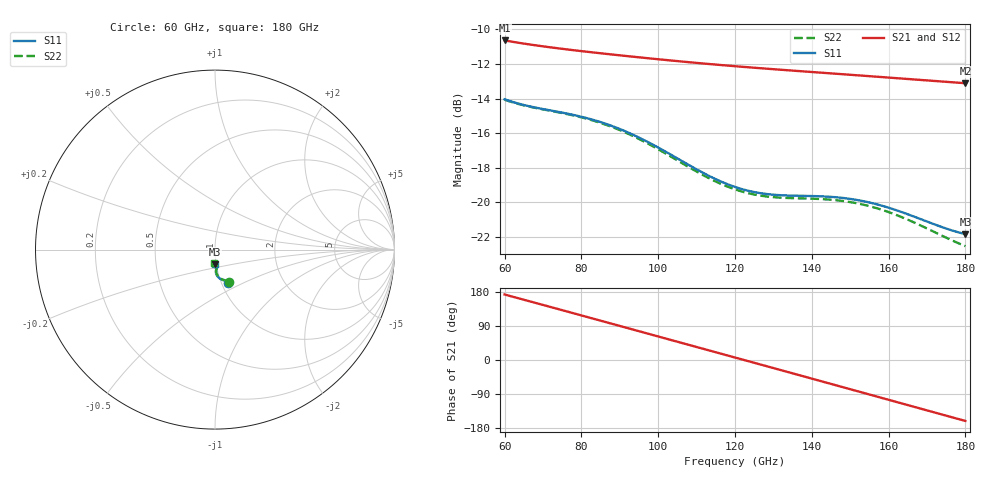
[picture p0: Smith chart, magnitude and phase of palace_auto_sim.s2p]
#  GHZ S DB R 50
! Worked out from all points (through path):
!   101 points, 60 GHz to 180 GHz, reference 50 ohm
!   highest |S21| = -10.64 dB at 60 GHz (marker M1); lowest = -13.1 dB at 180 GHz (marker M2)
!   group delay of S21, straight-line fit = 7.73 ps
!   lowest |S11| = -21.8 dB at 180 GHz (marker M3), VSWR 1.18, Z = 49.4 - j8.04 ohm
!   |S11| at or under -10 dB: start of sweep to end of sweep
!   |S22| runs from -22.5 to -14.1 dB; largest |S21 - S12| = 3.2e-13
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60  -14.05 -68.7  -10.64 172.8  -10.64 172.8  -14.07 -67.6
64.8  -14.36 -69.1  -10.82 159.6  -10.82 159.6  -14.38 -68.1
69.6  -14.59 -70.2  -10.97 146.4  -10.97 146.4  -14.61 -69.1
75.6  -14.84 -72.5  -11.14 129.8  -11.14 129.8  -14.87 -71.5
80.4  -15.08 -75.0  -11.27 116.5  -11.27 116.5  -15.11 -73.9
85.2  -15.38 -77.7  -11.39 103.2  -11.39 103.2  -15.43 -76.8
90  -15.76 -80.6  -11.50 89.9  -11.50 89.9  -15.83 -79.6
94.8  -16.24 -83.3  -11.61 76.5  -11.61 76.5  -16.32 -82.3
100.8  -16.94 -86.0  -11.75 59.9  -11.75 59.9  -17.04 -85.0
110.4  -18.15 -87.9  -11.95 33.2  -11.95 33.2  -18.27 -86.8
115.2  -18.69 -87.5  -12.04 19.9  -12.04 19.9  -18.82 -86.4
120  -19.12 -86.6  -12.13 6.5  -12.13 6.5  -19.26 -85.5
124.8  -19.40 -85.4  -12.22 -6.8  -12.22 -6.8  -19.55 -84.4
129.6  -19.56 -84.5  -12.30 -20.1  -12.30 -20.1  -19.70 -83.5
134.4  -19.62 -84.1  -12.38 -33.5  -12.38 -33.5  -19.76 -83.3
140.4  -19.64 -84.5  -12.47 -50.2  -12.47 -50.2  -19.80 -84.0
146.4  -19.71 -85.9  -12.57 -67.0  -12.57 -67.0  -19.88 -85.7
151.2  -19.85 -87.5  -12.65 -80.4  -12.65 -80.4  -20.04 -87.6
156  -20.07 -89.1  -12.72 -93.8  -12.72 -93.8  -20.29 -89.6
160.8  -20.37 -90.5  -12.80 -107.2  -12.80 -107.2  -20.63 -91.4
171.6  -21.25 -91.5  -12.98 -137.4  -12.98 -137.4  -21.69 -93.7
180  -21.85 -89.6  -13.12 -160.9  -13.12 -160.9  -22.54 -92.6
